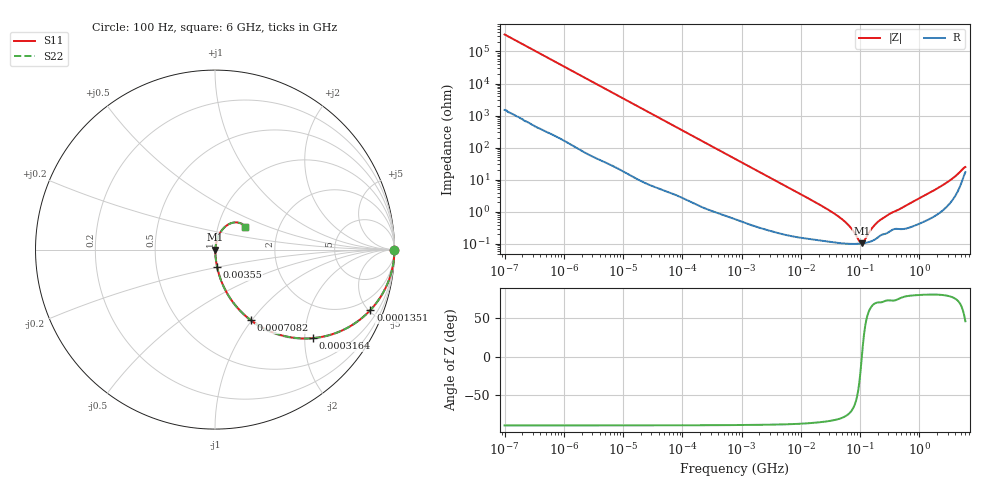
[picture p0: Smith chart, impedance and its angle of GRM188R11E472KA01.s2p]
!Murata Part Number: GRM188R11E472KA01
!These Parameters are Measured in Series Mode Connection
!Data Generated on Mar 30, 2021
!  o--ll--o
!Port1  Port2
!  o------o
!Operation Temp=25[degC], DC Bias Voltage=0[V]
!Freq. Start=100[Hz] Stop=6[GHz] 401[Steps]
# Hz S RI R 50
!Freq.(Hz) S11(Real) S11(Imag) S21(Real) S21(Imag) S12(Real) S12(Imag) S22(Real) S22(Imag)
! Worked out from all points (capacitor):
!   401 points, 100 Hz to 6 GHz, reference 50 ohm
!   read as one part in series: C = 4.71 nF near 109 Hz
!   lowest |Z| = 104 mohm at 106.7 MHz (marker M1)
!   series resonance near 107.2 MHz, so ESL is about 470 pH
!   S11 on the Smith chart (normalised r, x): 100 Hz: open; 135.1 kHz: 1.04, -5.12; 316.4 kHz: 1.02, -2.19; 708.2 kHz: 1.01, -0.98; 3.55 MHz: 1.00, -0.20; 6 GHz: 1.34, +0.36
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100  1 -0.000296  1.4e-06 0.000296  1.4e-06 0.000296  1 -0.000296
2008  0.9999 -0.0059  6.24e-05 0.0059  6.24e-05 0.0059  0.9999 -0.0059
12592  0.9985 -0.0367  0.00154 0.0367  0.00154 0.0367  0.9985 -0.0367
40335  0.9857 -0.1156  0.0143 0.1156  0.0143 0.1156  0.9857 -0.1156
135116  0.8654 -0.3372  0.1346 0.3372  0.1346 0.3372  0.8654 -0.3372
316350  0.5456 -0.4931  0.4544 0.4931  0.4544 0.4931  0.5456 -0.4931
708247  0.1982 -0.3923  0.8018 0.3923  0.8018 0.3923  0.1982 -0.3923
774597  0.1719 -0.3708  0.8281 0.3708  0.8281 0.3708  0.1719 -0.3708
1449809  0.0585 -0.2267  0.9415 0.2267  0.9415 0.2267  0.0585 -0.2267
3549919  0.0121 -0.0979  0.9879 0.0979  0.9879 0.0979  0.0121 -0.0979
1.555665e7  0.0019 -0.0225  0.9981 0.0225  0.9981 0.0225  0.0019 -0.0225
5.211241e7  0.00106 -0.00538  0.9989 0.00538  0.9989 0.00538  0.00106 -0.00538
6.817316e7  0.00101 -0.00322  0.999 0.00322  0.999 0.00322  0.00101 -0.00322
9.753859e7  0.00102 -0.000653  0.999 0.000653  0.999 0.000653  0.00102 -0.000653
1.066761e8  0.00104 -3.15e-05  0.999 3.15e-05  0.999 3.15e-05  0.00104 -3.15e-05
1.166697e8  0.00106 0.000591  0.9989 -0.000591  0.9989 -0.000591  0.00106 0.000591
1.526266e8  0.00121 0.00252  0.9988 -0.00252  0.9988 -0.00252  0.00121 0.00252
1.825626e8  0.00143 0.0039  0.9986 -0.0039  0.9986 -0.0039  0.00143 0.0039
3.124326e8  0.00246 0.00817  0.9975 -0.00817  0.9975 -0.00817  0.00246 0.00817
3.065283e9  0.0227 0.0827  0.9773 -0.0827  0.9773 -0.0827  0.0227 0.0827
4.385646e9  0.0565 0.1275  0.9435 -0.1275  0.9435 -0.1275  0.0565 0.1275
6e9  0.1669 0.1285  0.8331 -0.1285  0.8331 -0.1285  0.1669 0.1285
